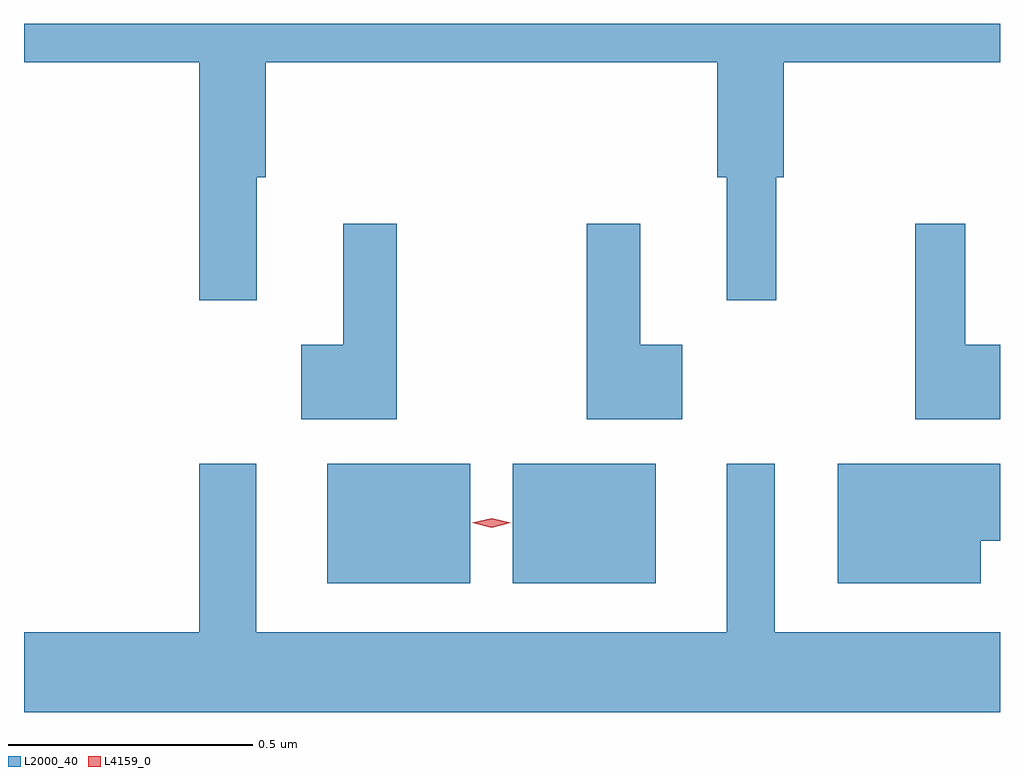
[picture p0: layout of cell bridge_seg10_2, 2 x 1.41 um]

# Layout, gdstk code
import gdstk
lib = gdstk.Library(unit=1e-6, precision=1e-09)
def R(c, l, rs):  # rectangles x0, y0, x1, y1
    for r in rs: c.add(gdstk.rectangle(r[:2], r[2:], *l))
def P(c, l, *ps):  # polygons
    for p in ps: c.add(gdstk.Polygon(p, *l))
L2000_40 = (2000, 40)
L4159_0 = (4159, 0)

bridge_seg10_2 = lib.new_cell('bridge_seg10_2')
R(bridge_seg10_2, L2000_40, [(1097.597,1261.952,1097.89,1262.197), (1097.978,1261.952,1098.271,1262.197)])
P(bridge_seg10_2, L2000_40, [(1097.453,1262.784),(1097.471,1262.784),(1097.471,1263.02),(1098.397,1263.02),(1098.397,1262.784),(1098.416,1262.784),(1098.416,1262.532),(1098.518,1262.532),(1098.518,1262.784),(1098.533,1262.784),(1098.533,1263.02),(1098.976,1263.02),(1098.976,1263.099),(1096.976,1263.099),(1096.976,1263.02),(1097.335,1263.02),(1097.335,1262.532),(1097.453,1262.532)],
  [(1098.976,1262.441),(1098.905,1262.441),(1098.905,1262.689),(1098.802,1262.689),(1098.802,1262.288),(1098.976,1262.288)],
  [(1098.325,1262.441),(1098.239,1262.441),(1098.239,1262.689),(1098.129,1262.689),(1098.129,1262.288),(1098.325,1262.288)],
  [(1097.74,1262.689),(1097.63,1262.689),(1097.63,1262.441),(1097.544,1262.441),(1097.544,1262.288),(1097.74,1262.288)],
  [(1098.976,1261.852),(1098.514,1261.852),(1098.514,1262.197),(1098.416,1262.197),(1098.416,1261.852),(1097.452,1261.852),(1097.452,1262.197),(1097.335,1262.197),(1097.335,1261.852),(1096.976,1261.852),(1096.976,1261.688),(1098.976,1261.688)],
  [(1098.937,1262.039),(1098.976,1262.039),(1098.976,1262.197),(1098.644,1262.197),(1098.644,1261.952),(1098.937,1261.952)])
P(bridge_seg10_2, L4159_0, [(1097.934,1262.066),(1097.895,1262.076),(1097.894,1262.076),(1097.895,1262.076),(1097.934,1262.086),(1097.973,1262.076),(1097.973,1262.076),(1097.973,1262.076)])

lib.write_gds('bridge_seg10_2.gds')
